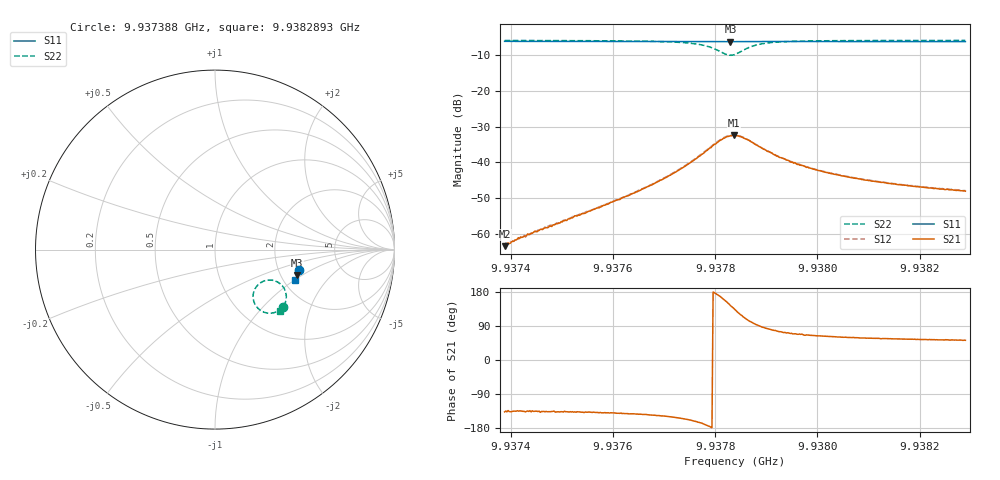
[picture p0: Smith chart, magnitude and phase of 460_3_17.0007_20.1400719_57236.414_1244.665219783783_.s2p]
#  HZ  S  RI  R  50.00
! Rohde & Schwarz Vector Network Analyzer
! Rohde-Schwarz,ZNB20-2Port,1311601062101988,3.16
! Created: UTC 3/20/2024, 11:12:44 PM
! freq[Hz]  re:S11  im:S11  re:S21  im:S21  re:S12  im:S12  re:S22  im:S22
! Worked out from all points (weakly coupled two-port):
!   401 points, 9.937388 GHz to 9.9382893 GHz, reference 50 ohm
!   highest |S21| = -32.46 dB at 9.9378364 GHz (marker M1); lowest = -63.3 dB at 9.937388 GHz (marker M2)
!   lowest |S11| = -6.4 dB at 9.9378296 GHz (marker M3), VSWR 2.83, Z = 122 - j45 ohm
!   |S11| at or under -10 dB: nowhere
!   |S22| runs from -10.2 to -6.1 dB; largest |S21 - S12| = 0.00098
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9.93738803e9  0.4695 -0.1143  -0.0005 -0.000469  -0.000514 -0.00049  0.3783 -0.3226
9.93741732e9  0.4686 -0.1163  -0.000613 -0.000629  -0.000649 -0.000603  0.376 -0.325
9.9374331e9  0.4685 -0.1174  -0.00071 -0.000724  -0.00072 -0.000676  0.3745 -0.3261
9.9374714e9  0.4678 -0.1198  -0.000896 -0.000849  -0.000976 -0.00087  0.3708 -0.3293
9.93753899e9  0.4662 -0.1244  -0.00144 -0.0013  -0.00147 -0.00128  0.363 -0.3352
9.93762686e9  0.4642 -0.1304  -0.00265 -0.00212  -0.00274 -0.00211  0.3479 -0.3442
9.93768995e9  0.4624 -0.1346  -0.00459 -0.00303  -0.00474 -0.00297  0.3283 -0.3513
9.93773951e9  0.4609 -0.1381  -0.00794 -0.00362  -0.00816 -0.00357  0.2984 -0.3542
9.93778007e9  0.4593 -0.1405  -0.0139 -0.00233  -0.0142 -0.00225  0.2514 -0.3375
9.93781161e9  0.4575 -0.142  -0.02 0.00517  -0.0202 0.00577  0.2125 -0.2692
9.93782964e9  0.457 -0.1418  -0.0189 0.0139  -0.0192 0.0145  0.2328 -0.2039
9.9378364e9  0.457 -0.1421  -0.0172 0.0165  -0.0168 0.0173  0.2534 -0.1851
9.93783865e9  0.457 -0.1421  -0.0162 0.0174  -0.0158 0.0182  0.2615 -0.1801
9.93784991e9  0.4573 -0.1424  -0.0111 0.0199  -0.0107 0.0205  0.3039 -0.1694
9.93786569e9  0.4575 -0.1434  -0.00483 0.0198  -0.00422 0.0199  0.3518 -0.1823
9.93789272e9  0.4578 -0.1455  0.000987 0.0155  0.00123 0.0157  0.3889 -0.2235
9.93792201e9  0.4574 -0.1477  0.00294 0.0119  0.00324 0.0119  0.3971 -0.2569
9.93794905e9  0.457 -0.1496  0.00338 0.00948  0.00374 0.00956  0.3963 -0.2767
9.93798961e9  0.4559 -0.1525  0.00347 0.00739  0.00365 0.00742  0.3915 -0.2955
9.93805269e9  0.4543 -0.1567  0.0032 0.00557  0.00333 0.00556  0.3838 -0.3124
9.93814056e9  0.4519 -0.1626  0.00284 0.00423  0.00295 0.00427  0.3745 -0.3259
9.93828926e9  0.4477 -0.1721  0.00246 0.00315  0.00254 0.00318  0.3626 -0.3404
